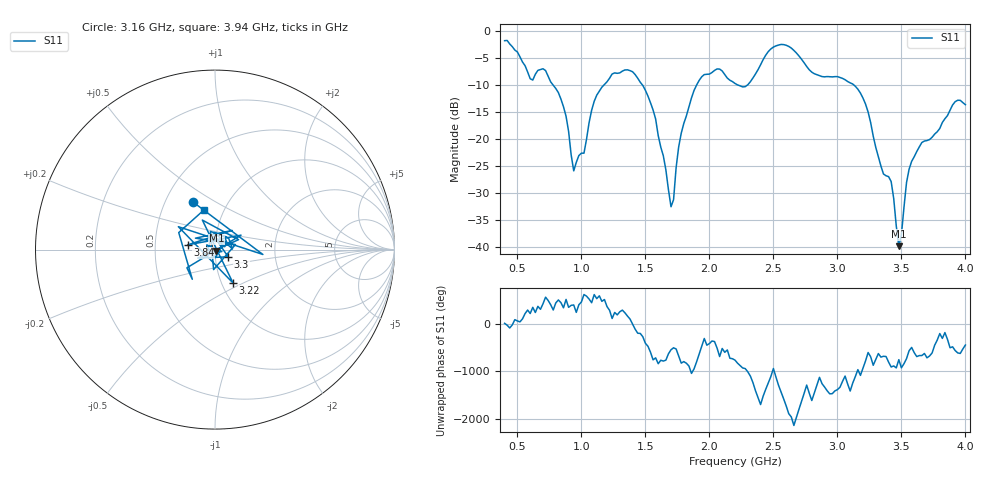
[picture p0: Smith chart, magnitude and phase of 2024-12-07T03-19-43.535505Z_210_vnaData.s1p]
!Created with skrf (http://scikit-rf.org).
# Hz S RI R 50.0
!freq ReS11 ImS11
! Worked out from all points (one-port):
!   181 points, 400 MHz to 4 GHz, reference 50 ohm
!   lowest |S11| = -39.8 dB at 3.48 GHz (marker M1), VSWR 1.02, Z = 50.8 - j0.62 ohm
!   |S11| at or under -10 dB: 781.2 MHz to 1.174 GHz (392.3 MHz wide, 40.1 % of centre); 1.479 GHz to 1.899 GHz (419.6 MHz wide, 24.8 % of centre); 3.132 GHz to end of sweep (the widest 3 of 4)
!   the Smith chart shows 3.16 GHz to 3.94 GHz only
!   S11 on the Smith chart (normalised r, x): 3.16 GHz: 0.69, +0.40; 3.22 GHz: 1.13, -0.44; 3.3 GHz: 1.15, -0.09; 3.84 GHz: 0.73, +0.04; 3.94 GHz: 0.81, +0.38
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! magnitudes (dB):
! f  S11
! 400 MHz  -1.7
! 600 MHz  -8.8
! 720 MHz  -7.3
! 860 MHz  -14.0
! 940 MHz  -25.9
! 1.02 GHz  -22.6
! 1.12 GHz  -11.8
! 1.3 GHz  -7.7
! 1.52 GHz  -12.0
! 1.64 GHz  -23.1
! 1.7 GHz  -32.5
! 1.72 GHz  -31.2
! 1.76 GHz  -21.4
! 1.94 GHz  -8.4
! 2.2 GHz  -9.6
! 2.3 GHz  -9.9
! 2.5 GHz  -2.9
! 2.66 GHz  -3.5
! 3.1 GHz  -9.5
! 3.16 GHz  -10.7
! 3.22 GHz  -13.5
! 3.3 GHz  -21.5
! 3.42 GHz  -27.8
! 3.48 GHz  -39.8
! 3.56 GHz  -25.6
! 3.84 GHz  -16.2
! 3.94 GHz  -12.8
! 4 GHz  -13.6
